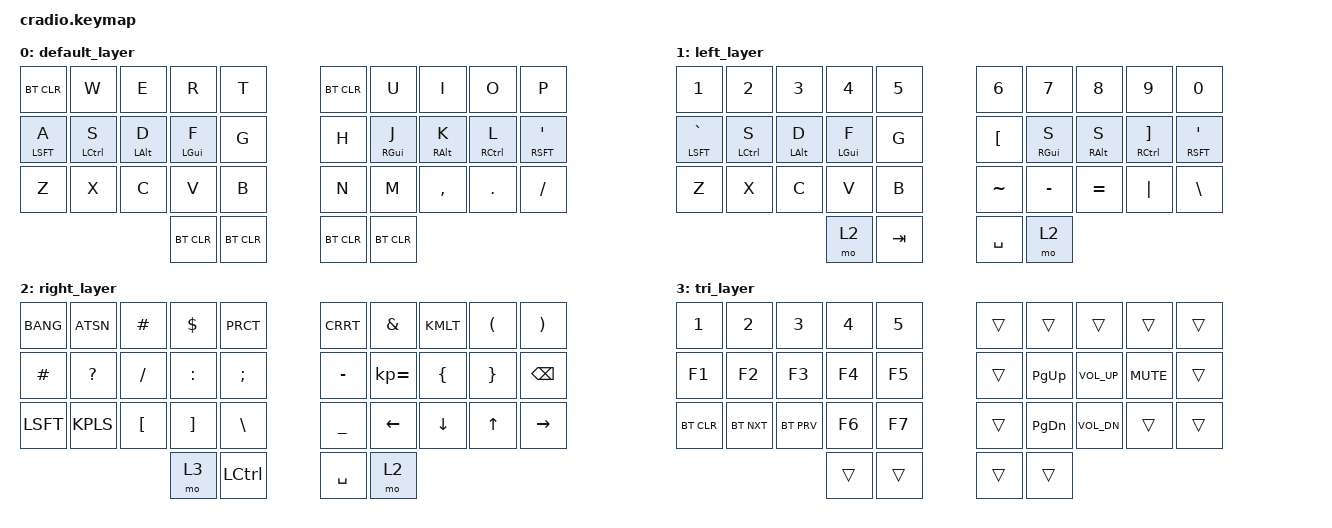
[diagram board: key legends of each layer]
/*
 * Copyright (c) 2020 The ZMK Contributors
 *
 * SPDX-License-Identifier: MIT
 */

#include <behaviors.dtsi>
#include <dt-bindings/zmk/keys.h>a
#include <dt-bindings/zmk/bt.h>


&lt {
   flavor = "balanced";
   tapping_term_ms = <800>;
};

/ { 

    behaviors {
        hm_l: left_hand_positional_hold_tap {
            compatible = "zmk,behavior-hold-tap";
            label = "POSITIONAL_HOLD_TAP_LEFT";
            #binding-cells = <2>;
            flavor = "tap-unless-interrupted";
            tapping-term-ms = <800>;                        
            bindings = <&kp>, <&kp>;
            hold-trigger-key-positions = <5 6 7 8 9  15 16 17 18 19  25 26 27 28 29  30 31 32 33>;    // <---[[right-hand keys + thumbs]]
        };
        hm_r: right_hand_positional_hold_tap {
            compatible = "zmk,behavior-hold-tap";
            label = "POSITIONAL_HOLD_TAP_RIGHT";
            #binding-cells = <2>;
            flavor = "tap-unless-interrupted";
            tapping-term-ms = <800>;                        
            bindings = <&kp>, <&kp>;
            hold-trigger-key-positions = <0 1 2 3 4  10 11 12 13 14  20 21 22 23 24  30 31 32 33>;    // <---[[left-hand keys + thumbs]]
        };
    };

    keymap {
        compatible = "zmk,keymap";
            
        default_layer {
            bindings = <
            //  pos 0        pos 1        pos 2        pos 3        pos 4      |    pos 5       pos 6        pos 7        pos 8        pos 9
                &bt BT_CLR        &kp W        &kp E        &kp R        &kp T           &bt BT_CLR       &kp U        &kp I        &kp O        &kp P
            //  pos 10       pos 11       pos 12       pos 13       pos 14     |    pos 15      pos 16       pos 17       pos 18       pos 19 
                &hm_l LSFT A &hm_l LCTL S &hm_l LALT D &hm_l LGUI F &kp G           &kp H       &hm_r RGUI J &hm_r RALT K &hm_r RCTL L &hm_r RSFT QUOT
            //  pos 20       pos 21       pos 22       pos 23       pos 24     |    pos 25      pos 26       pos 27       pos 28       pos 29 
                &kp Z        &kp X        &kp C        &kp V        &kp B           &kp N       &kp M        &kp CMMA     &kp DOT      &kp FSLH
            //                                         pos 30       pos 31     |    pos 32      pos 33
                                                       &bt BT_CLR     &bt BT_CLR         &bt BT_CLR    &bt BT_CLR
            >;
        };
 
        left_layer {
            bindings = <
            //  pos 0        pos 1        pos 2        pos 3        pos 4      |    pos 5       pos 6        pos 7        pos 8        pos 9
                &kp NUM_1    &kp NUM_2    &kp NUM_3    &kp NUM_4    &kp NUM_5		&kp NUM_6   &kp NUM_7    &kp NUM_8    &kp NUM_9    &kp NUM_0 
            //  pos 10       pos 11       pos 12       pos 13       pos 14     |    pos 15      pos 16       pos 17       pos 18       pos 19 
            &hm_l LSFT GRAVE &hm_l LCTL S &hm_l LALT D &hm_l LGUI F &kp G           &kp LBKT    &hm_r RGUI S &hm_r RALT S &hm_r RCTL RBKT &hm_r RSFT QUOT
            //  pos 20       pos 21       pos 22       pos 23       pos 24     |    pos 25      pos 26       pos 27       pos 28       pos 29 
                &kp Z        &kp X        &kp C        &kp V        &kp B           &kp TILDE   &kp MINUS    &kp EQL      &kp PIPE     &kp BSLH
            //                                         pos 30       pos 31     |    pos 32      pos 33
                                                       &mo 2        &kp TAB         &kp SPC     &mo 2
            >;
        };
    
        right_layer {
            bindings = <
            &kp BANG  &kp ATSN &kp HASH  &kp DLLR  &kp PRCT    			&kp CRRT  &kp AMPS &kp KMLT &kp LPRN &kp RPRN 
            &kp HASH  &kp QMARK  &kp FSLH  &kp COLN  &kp SCLN 			&kp MINUS &kp KP_EQUAL  &kp LBRC  &kp RBRC   &kp BKSP
            &kp LSFT  &kp KPLS &kp LBKT &kp RBKT   &kp BSLH    			&kp UNDER &kp LEFT &kp DOWN &kp UP  &kp RIGHT
                        &mo 3 &kp LCTL  				&kp SPC  &mo 2 
            >;
        };	
    
        tri_layer {
            bindings = <
            &kp NUM_1  &kp NUM_2    &kp NUM_3    &kp NUM_4    &kp NUM_5 			&trans &trans   &trans   &trans  &trans
            &kp F1 &kp F2 &kp F3 &kp F4 &kp F5  						&trans &kp PG_UP  &kp K_VOL_UP &kp K_MUTE &trans 
            &bt BT_CLR  &bt BT_NXT &bt BT_PRV &kp F6 &kp F7   				&trans &kp PG_DN  &kp K_VOL_DN  &trans &trans   
                        &trans &trans  					&trans &trans 
            >;
        };	
    
    };
};
